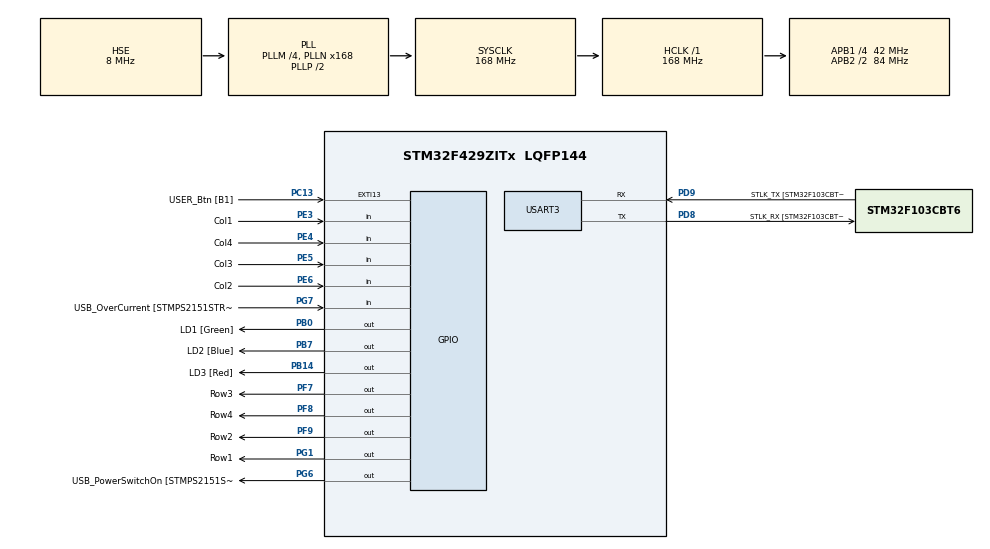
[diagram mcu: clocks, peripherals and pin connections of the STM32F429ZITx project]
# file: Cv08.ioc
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Mcu.Family=STM32F4
Mcu.Name=STM32F429ZITx
Mcu.Package=LQFP144
NVIC.PriorityGroup=NVIC_PRIORITYGROUP_4
NVIC.TIM3_IRQn=true\:0\:0\:false\:false\:true\:true\:true\:true
PA1.GPIO_Label=RMII_REF_CLK [LAN8742A-CZ-TR_REFCLK0]
PA1.Signal=ETH_REF_CLK
PA10.GPIO_Label=USB_ID
PA10.Signal=USB_OTG_FS_ID
PA11.GPIO_Label=USB_DM
PA11.Signal=USB_OTG_FS_DM
PA12.GPIO_Label=USB_DP
PA12.Signal=USB_OTG_FS_DP
PA13.GPIO_Label=TMS
PA13.Mode=Serial_Wire
PA13.Signal=SYS_JTMS-SWDIO
PA14.GPIO_Label=TCK
PA14.Mode=Serial_Wire
PA14.Signal=SYS_JTCK-SWCLK
PA2.GPIO_Label=RMII_MDIO [LAN8742A-CZ-TR_MDIO]
PA2.Signal=ETH_MDIO
PA7.GPIO_Label=RMII_CRS_DV [LAN8742A-CZ-TR_CRS_DV]
PA7.Signal=ETH_CRS_DV
PA8.GPIO_Label=USB_SOF [TP1]
PA8.Signal=USB_OTG_FS_SOF
PA9.GPIO_Label=USB_VBUS
PA9.Signal=USB_OTG_FS_VBUS
PB0.GPIO_Label=LD1 [Green]
PB0.Signal=GPIO_Output
PB13.GPIO_Label=RMII_TXD1 [LAN8742A-CZ-TR_TXD1]
PB13.Signal=ETH_TXD1
PB14.GPIO_Label=LD3 [Red]
PB14.Signal=GPIO_Output
PB7.GPIO_Label=LD2 [Blue]
PB7.Signal=GPIO_Output
PC1.GPIO_Label=RMII_MDC [LAN8742A-CZ-TR_MDC]
PC1.Signal=ETH_MDC
PC13.GPIO_Label=USER_Btn [B1]
PC13.Signal=GPXTI13
PC14/OSC32_IN.Mode=LSE-External-Oscillator
PC14/OSC32_IN.Signal=RCC_OSC32_IN
PC15/OSC32_OUT.Mode=LSE-External-Oscillator
PC15/OSC32_OUT.Signal=RCC_OSC32_OUT
PC4.GPIO_Label=RMII_RXD0 [LAN8742A-CZ-TR_RXD0]
PC4.Signal=ETH_RXD0
PC5.GPIO_Label=RMII_RXD1 [LAN8742A-CZ-TR_RXD1]
PC5.Signal=ETH_RXD1
PD8.GPIO_Label=STLK_RX [STM32F103CBT6_PA3]
PD8.Mode=Asynchronous
PD8.Signal=USART3_TX
PD9.GPIO_Label=STLK_TX [STM32F103CBT6_PA2]
PD9.Mode=Asynchronous
PD9.Signal=USART3_RX
PE3.GPIO_Label=Col1
PE3.GPIO_PuPd=GPIO_PULLUP
PE3.Signal=GPIO_Input
PE4.GPIO_Label=Col4
PE4.GPIO_PuPd=GPIO_PULLUP
PE4.Signal=GPIO_Input
PE5.GPIO_Label=Col3
PE5.GPIO_PuPd=GPIO_PULLUP
PE5.Signal=GPIO_Input
PE6.GPIO_Label=Col2
PE6.GPIO_PuPd=GPIO_PULLUP
PE6.Signal=GPIO_Input
PF7.GPIO_Label=Row3
PF7.GPIO_ModeDefaultOutputPP=GPIO_MODE_OUTPUT_OD
PF7.GPIO_PuPd=GPIO_NOPULL
PF7.Signal=GPIO_Output
PF8.GPIO_Label=Row4
PF8.GPIO_ModeDefaultOutputPP=GPIO_MODE_OUTPUT_OD
PF8.GPIO_PuPd=GPIO_NOPULL
PF8.Signal=GPIO_Output
PF9.GPIO_Label=Row2
PF9.GPIO_ModeDefaultOutputPP=GPIO_MODE_OUTPUT_OD
PF9.GPIO_PuPd=GPIO_NOPULL
PF9.Signal=GPIO_Output
PG1.GPIO_Label=Row1
PG1.GPIO_ModeDefaultOutputPP=GPIO_MODE_OUTPUT_OD
PG1.GPIO_PuPd=GPIO_NOPULL
PG1.Signal=GPIO_Output
PG11.GPIO_Label=RMII_TX_EN [LAN8742A-CZ-TR_TXEN]
PG11.Signal=ETH_TX_EN
PG13.GPIO_Label=RMII_TXD0 [LAN8742A-CZ-TR_TXD0]
PG13.Signal=ETH_TXD0
PG6.GPIO_Label=USB_PowerSwitchOn [STMPS2151STR_EN]
PG6.Signal=GPIO_Output
PG7.GPIO_Label=USB_OverCurrent [STMPS2151STR_FAULT]
PG7.Signal=GPIO_Input
PH0/OSC_IN.GPIO_Label=MCO [STM32F103CBT6_PA8]
PH0/OSC_IN.Mode=HSE-External-Clock-Source
PH0/OSC_IN.Signal=RCC_OSC_IN
PH1/OSC_OUT.Mode=HSE-External-Clock-Source
PH1/OSC_OUT.Signal=RCC_OSC_OUT
ProjectManager.HeapSize=0x200
ProjectManager.StackSize=0x400
ProjectManager.TargetToolchain=STM32CubeIDE
RCC.48MHZClocksFreq_Value=48000000
RCC.AHBFreq_Value=168000000
RCC.APB1CLKDivider=RCC_HCLK_DIV4
RCC.APB1Freq_Value=42000000
RCC.APB1TimFreq_Value=84000000
RCC.APB2CLKDivider=RCC_HCLK_DIV2
RCC.APB2Freq_Value=84000000
RCC.APB2TimCLKDivider=2
RCC.APB2TimFreq_Value=168000000
RCC.CortexFreq_Value=168000000
RCC.HCLKFreq_Value=168000000
RCC.HSE_VALUE=8000000
RCC.HSI_VALUE=16000000
RCC.PLLM=4
RCC.PLLMUL=RCC_PLL_MUL9
RCC.PLLN=168
RCC.PLLQ=7
RCC.PLLSourceVirtual=RCC_PLLSOURCE_HSE
RCC.PRESCALERUSB=RCC_USBCLKSOURCE_PLL_DIV1_5
RCC.SYSCLKFreq_VALUE=168000000
RCC.SYSCLKSource=RCC_SYSCLKSOURCE_PLLCLK
RCC.SYSCLKSourceVirtual=RCC_SYSCLKSOURCE_PLLCLK
RCC.USBFreq_Value=48000000
RCC.VCOOutputFreq_Value=336000000
TIM3.AutoReloadPreload=TIM_AUTORELOAD_PRELOAD_ENABLE
TIM3.Period=99
TIM3.Prescaler=8399
USART3.VirtualMode=VM_ASYNC
VP_TIM3_VS_ClockSourceINT.Mode=Internal
board=NUCLEO-F429ZI

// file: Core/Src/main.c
/* USER CODE BEGIN Header */
/**
 ******************************************************************************
 * @file           : main.c
 * @brief          : Main program body
 ******************************************************************************
 * @attention
 *
 * Copyright (c) 2024 STMicroelectronics.
 * All rights reserved.
 *
 * This software is licensed under terms that can be found in the LICENSE file
 * in the root directory of this software component.
 * If no LICENSE file comes with this software, it is provided AS-IS.
 *
 ******************************************************************************
 */
/* USER CODE END Header */
#include "main.h"

/* USER CODE BEGIN Includes */
#include "stdio.h"
/* USER CODE END Includes */

TIM_HandleTypeDef htim3;

UART_HandleTypeDef huart3;

/* USER CODE BEGIN PV */
static volatile char key;
static const char Heslo [] = { '7', '9', '3', '2', '#' };
static uint8_t Pozice = 0;

uint32_t Curr_time;

/* USER CODE END PV */

void SystemClock_Config(void);
static void MX_GPIO_Init(void);
static void MX_USART3_UART_Init(void);
static void MX_TIM3_Init(void);

/* USER CODE BEGIN 0 */
int __io_putchar(int ch)
{
	ITM_SendChar(ch);
	return 0;
}
/* USER CODE END 0 */

int main(void)
{

	/* MCU Configuration--------------------------------------------------------*/

	/* Reset of all peripherals, Initializes the Flash interface and the Systick. */
	HAL_Init();

	/* Configure the system clock */
	SystemClock_Config();

	/* Initialize all configured peripherals */
	MX_GPIO_Init();
	MX_USART3_UART_Init();
	MX_TIM3_Init();
	/* USER CODE BEGIN 2 */
	HAL_TIM_Base_Start_IT(&htim3);
	/* USER CODE END 2 */

	/* Infinite loop */
	/* USER CODE BEGIN WHILE */
	while (1)
	{
		/*HAL_GPIO_TogglePin(LD1_GPIO_Port, LD1_Pin);
	  HAL_Delay(250);

	  static uint32_t i;
	  printf("Test %u\n",i++);*/
		if (key != 0)
		{
			printf("pressed '%c'\n", key);

			if (key == Heslo[Pozice])
			{
				Pozice++;

				Curr_time = HAL_GetTick();
				if(Pozice == sizeof(Heslo))
				{
					printf("Zadane heslo je spravne\n");
					HAL_GPIO_WritePin(LD1_GPIO_Port, LD1_Pin, 1);
					Pozice = 0;
				}

			}

			else
			{
				printf("Zadane heslo je spatne, tudiz te vracim na zacatek :)\n");
				Pozice = 0;
				HAL_GPIO_WritePin(LD1_GPIO_Port, LD1_Pin, 0);
			}

			HAL_Delay(500);
			key = 0;
		}

		if(HAL_GetTick() - Curr_time >= 4000  && Pozice != 0)
		{
			printf("Trvalo ti moc dlouho zadat dalsi charakter, tudiz te vracim na zacatek :)\n");
			Pozice = 0;
			HAL_GPIO_WritePin(LD1_GPIO_Port, LD1_Pin, 0);
		}

		/* USER CODE END WHILE */

	}
}

void SystemClock_Config(void)
{
	RCC_OscInitTypeDef RCC_OscInitStruct = {0};
	RCC_ClkInitTypeDef RCC_ClkInitStruct = {0};

	/** Configure the main internal regulator output voltage
	 */
	__HAL_RCC_PWR_CLK_ENABLE();
	__HAL_PWR_VOLTAGESCALING_CONFIG(PWR_REGULATOR_VOLTAGE_SCALE1);

	/** Initializes the RCC Oscillators according to the specified parameters
	 * in the RCC_OscInitTypeDef structure.
	 */
	RCC_OscInitStruct.OscillatorType = RCC_OSCILLATORTYPE_HSE;
	RCC_OscInitStruct.HSEState = RCC_HSE_BYPASS;
	RCC_OscInitStruct.PLL.PLLState = RCC_PLL_ON;
	RCC_OscInitStruct.PLL.PLLSource = RCC_PLLSOURCE_HSE;
	RCC_OscInitStruct.PLL.PLLM = 4;
	RCC_OscInitStruct.PLL.PLLN = 168;
	RCC_OscInitStruct.PLL.PLLP = RCC_PLLP_DIV2;
	RCC_OscInitStruct.PLL.PLLQ = 7;
	if (HAL_RCC_OscConfig(&RCC_OscInitStruct) != HAL_OK)
	{
		Error_Handler();
	}

	/** Initializes the CPU, AHB and APB buses clocks
	 */
	RCC_ClkInitStruct.ClockType = RCC_CLOCKTYPE_HCLK|RCC_CLOCKTYPE_SYSCLK
			|RCC_CLOCKTYPE_PCLK1|RCC_CLOCKTYPE_PCLK2;
	RCC_ClkInitStruct.SYSCLKSource = RCC_SYSCLKSOURCE_PLLCLK;
	RCC_ClkInitStruct.AHBCLKDivider = RCC_SYSCLK_DIV1;
	RCC_ClkInitStruct.APB1CLKDivider = RCC_HCLK_DIV4;
	RCC_ClkInitStruct.APB2CLKDivider = RCC_HCLK_DIV2;

	if (HAL_RCC_ClockConfig(&RCC_ClkInitStruct, FLASH_LATENCY_5) != HAL_OK)
	{
		Error_Handler();
	}
}

static void MX_TIM3_Init(void)
{

	TIM_ClockConfigTypeDef sClockSourceConfig = {0};
	TIM_MasterConfigTypeDef sMasterConfig = {0};

	htim3.Instance = TIM3;
	htim3.Init.Prescaler = 8399;
	htim3.Init.CounterMode = TIM_COUNTERMODE_UP;
	htim3.Init.Period = 99;
	htim3.Init.ClockDivision = TIM_CLOCKDIVISION_DIV1;
	htim3.Init.AutoReloadPreload = TIM_AUTORELOAD_PRELOAD_ENABLE;
	if (HAL_TIM_Base_Init(&htim3) != HAL_OK)
	{
		Error_Handler();
	}
	sClockSourceConfig.ClockSource = TIM_CLOCKSOURCE_INTERNAL;
	if (HAL_TIM_ConfigClockSource(&htim3, &sClockSourceConfig) != HAL_OK)
	{
		Error_Handler();
	}
	sMasterConfig.MasterOutputTrigger = TIM_TRGO_RESET;
	sMasterConfig.MasterSlaveMode = TIM_MASTERSLAVEMODE_DISABLE;
	if (HAL_TIMEx_MasterConfigSynchronization(&htim3, &sMasterConfig) != HAL_OK)
	{
		Error_Handler();
	}

}

static void MX_USART3_UART_Init(void)
{

	huart3.Instance = USART3;
	huart3.Init.BaudRate = 115200;
	huart3.Init.WordLength = UART_WORDLENGTH_8B;
	huart3.Init.StopBits = UART_STOPBITS_1;
	huart3.Init.Parity = UART_PARITY_NONE;
	huart3.Init.Mode = UART_MODE_TX_RX;
	huart3.Init.HwFlowCtl = UART_HWCONTROL_NONE;
	huart3.Init.OverSampling = UART_OVERSAMPLING_16;
	if (HAL_UART_Init(&huart3) != HAL_OK)
	{
		Error_Handler();
	}

}

static void MX_GPIO_Init(void)
{
	GPIO_InitTypeDef GPIO_InitStruct = {0};

	/* GPIO Ports Clock Enable */
	__HAL_RCC_GPIOE_CLK_ENABLE();
	__HAL_RCC_GPIOC_CLK_ENABLE();
	__HAL_RCC_GPIOF_CLK_ENABLE();
	__HAL_RCC_GPIOH_CLK_ENABLE();
	__HAL_RCC_GPIOA_CLK_ENABLE();
	__HAL_RCC_GPIOB_CLK_ENABLE();
	__HAL_RCC_GPIOG_CLK_ENABLE();
	__HAL_RCC_GPIOD_CLK_ENABLE();

	/*Configure GPIO pin Output Level */
	HAL_GPIO_WritePin(GPIOF, Row3_Pin|Row4_Pin|Row2_Pin, GPIO_PIN_RESET);

	/*Configure GPIO pin Output Level */
	HAL_GPIO_WritePin(GPIOB, LD1_Pin|LD3_Pin|LD2_Pin, GPIO_PIN_RESET);

	/*Configure GPIO pin Output Level */
	HAL_GPIO_WritePin(GPIOG, Row1_Pin|USB_PowerSwitchOn_Pin, GPIO_PIN_RESET);

	/*Configure GPIO pins : Col1_Pin Col4_Pin Col3_Pin Col2_Pin */
	GPIO_InitStruct.Pin = Col1_Pin|Col4_Pin|Col3_Pin|Col2_Pin;
	GPIO_InitStruct.Mode = GPIO_MODE_INPUT;
	GPIO_InitStruct.Pull = GPIO_PULLUP;
	HAL_GPIO_Init(GPIOE, &GPIO_InitStruct);

	/*Configure GPIO pin : USER_Btn_Pin */
	GPIO_InitStruct.Pin = USER_Btn_Pin;
	GPIO_InitStruct.Mode = GPIO_MODE_IT_RISING;
	GPIO_InitStruct.Pull = GPIO_NOPULL;
	HAL_GPIO_Init(USER_Btn_GPIO_Port, &GPIO_InitStruct);

	/*Configure GPIO pins : Row3_Pin Row4_Pin Row2_Pin */
	GPIO_InitStruct.Pin = Row3_Pin|Row4_Pin|Row2_Pin;
	GPIO_InitStruct.Mode = GPIO_MODE_OUTPUT_OD;
	GPIO_InitStruct.Pull = GPIO_NOPULL;
	GPIO_InitStruct.Speed = GPIO_SPEED_FREQ_LOW;
	HAL_GPIO_Init(GPIOF, &GPIO_InitStruct);

	/*Configure GPIO pins : RMII_MDC_Pin RMII_RXD0_Pin RMII_RXD1_Pin */
	GPIO_InitStruct.Pin = RMII_MDC_Pin|RMII_RXD0_Pin|RMII_RXD1_Pin;
	GPIO_InitStruct.Mode = GPIO_MODE_AF_PP;
	GPIO_InitStruct.Pull = GPIO_NOPULL;
	GPIO_InitStruct.Speed = GPIO_SPEED_FREQ_VERY_HIGH;
	GPIO_InitStruct.Alternate = GPIO_AF11_ETH;
	HAL_GPIO_Init(GPIOC, &GPIO_InitStruct);

	/*Configure GPIO pins : RMII_REF_CLK_Pin RMII_MDIO_Pin RMII_CRS_DV_Pin */
	GPIO_InitStruct.Pin = RMII_REF_CLK_Pin|RMII_MDIO_Pin|RMII_CRS_DV_Pin;
	GPIO_InitStruct.Mode = GPIO_MODE_AF_PP;
	GPIO_InitStruct.Pull = GPIO_NOPULL;
	GPIO_InitStruct.Speed = GPIO_SPEED_FREQ_VERY_HIGH;
	GPIO_InitStruct.Alternate = GPIO_AF11_ETH;
	HAL_GPIO_Init(GPIOA, &GPIO_InitStruct);

	/*Configure GPIO pins : LD1_Pin LD3_Pin LD2_Pin */
	GPIO_InitStruct.Pin = LD1_Pin|LD3_Pin|LD2_Pin;
	GPIO_InitStruct.Mode = GPIO_MODE_OUTPUT_PP;
	GPIO_InitStruct.Pull = GPIO_NOPULL;
	GPIO_InitStruct.Speed = GPIO_SPEED_FREQ_LOW;
	HAL_GPIO_Init(GPIOB, &GPIO_InitStruct);

	/*Configure GPIO pin : Row1_Pin */
	GPIO_InitStruct.Pin = Row1_Pin;
	GPIO_InitStruct.Mode = GPIO_MODE_OUTPUT_OD;
	GPIO_InitStruct.Pull = GPIO_NOPULL;
	GPIO_InitStruct.Speed = GPIO_SPEED_FREQ_LOW;
	HAL_GPIO_Init(Row1_GPIO_Port, &GPIO_InitStruct);

	/*Configure GPIO pin : RMII_TXD1_Pin */
	GPIO_InitStruct.Pin = RMII_TXD1_Pin;
	GPIO_InitStruct.Mode = GPIO_MODE_AF_PP;
	GPIO_InitStruct.Pull = GPIO_NOPULL;
	GPIO_InitStruct.Speed = GPIO_SPEED_FREQ_VERY_HIGH;
	GPIO_InitStruct.Alternate = GPIO_AF11_ETH;
	HAL_GPIO_Init(RMII_TXD1_GPIO_Port, &GPIO_InitStruct);

	/*Configure GPIO pin : USB_PowerSwitchOn_Pin */
	GPIO_InitStruct.Pin = USB_PowerSwitchOn_Pin;
	GPIO_InitStruct.Mode = GPIO_MODE_OUTPUT_PP;
	GPIO_InitStruct.Pull = GPIO_NOPULL;
	GPIO_InitStruct.Speed = GPIO_SPEED_FREQ_LOW;
	HAL_GPIO_Init(USB_PowerSwitchOn_GPIO_Port, &GPIO_InitStruct);

	/*Configure GPIO pin : USB_OverCurrent_Pin */
	GPIO_InitStruct.Pin = USB_OverCurrent_Pin;
	GPIO_InitStruct.Mode = GPIO_MODE_INPUT;
	GPIO_InitStruct.Pull = GPIO_NOPULL;
	HAL_GPIO_Init(USB_OverCurrent_GPIO_Port, &GPIO_InitStruct);

	/*Configure GPIO pins : USB_SOF_Pin USB_ID_Pin USB_DM_Pin USB_DP_Pin */
	GPIO_InitStruct.Pin = USB_SOF_Pin|USB_ID_Pin|USB_DM_Pin|USB_DP_Pin;
	GPIO_InitStruct.Mode = GPIO_MODE_AF_PP;
	GPIO_InitStruct.Pull = GPIO_NOPULL;
	GPIO_InitStruct.Speed = GPIO_SPEED_FREQ_VERY_HIGH;
	GPIO_InitStruct.Alternate = GPIO_AF10_OTG_FS;
	HAL_GPIO_Init(GPIOA, &GPIO_InitStruct);

	/*Configure GPIO pin : USB_VBUS_Pin */
	GPIO_InitStruct.Pin = USB_VBUS_Pin;
	GPIO_InitStruct.Mode = GPIO_MODE_INPUT;
	GPIO_InitStruct.Pull = GPIO_NOPULL;
	HAL_GPIO_Init(USB_VBUS_GPIO_Port, &GPIO_InitStruct);

	/*Configure GPIO pins : RMII_TX_EN_Pin RMII_TXD0_Pin */
	GPIO_InitStruct.Pin = RMII_TX_EN_Pin|RMII_TXD0_Pin;
	GPIO_InitStruct.Mode = GPIO_MODE_AF_PP;
	GPIO_InitStruct.Pull = GPIO_NOPULL;
	GPIO_InitStruct.Speed = GPIO_SPEED_FREQ_VERY_HIGH;
	GPIO_InitStruct.Alternate = GPIO_AF11_ETH;
	HAL_GPIO_Init(GPIOG, &GPIO_InitStruct);

}

/* USER CODE BEGIN 4 */
void HAL_TIM_PeriodElapsedCallback(TIM_HandleTypeDef *htim)
{
	static uint8_t row = 0;
	static const char keyboard[4][4] = {
			{ '1', '2', '3', 'A' },
			{ '4', '5', '6', 'B' },
			{ '7', '8', '9', 'C' },
			{ '*', '0', '#', 'D' },
	};

	if (key == 0)
	{
		if (HAL_GPIO_ReadPin(Col1_GPIO_Port, Col1_Pin) == GPIO_PIN_RESET)
		{
			key = keyboard[row][0];
		}
		if (HAL_GPIO_ReadPin(Col2_GPIO_Port, Col2_Pin) == GPIO_PIN_RESET)
		{
			key = keyboard[row][1];
		}
		if (HAL_GPIO_ReadPin(Col3_GPIO_Port, Col3_Pin) == GPIO_PIN_RESET)
		{
			key = keyboard[row][2];
		}
		if (HAL_GPIO_ReadPin(Col4_GPIO_Port, Col4_Pin) == GPIO_PIN_RESET)
		{
			key = keyboard[row][3];
		}
	}

	switch (row)
	{
	case 0:
		row = 1;
		HAL_GPIO_WritePin(Row1_GPIO_Port, Row1_Pin, GPIO_PIN_SET);
		HAL_GPIO_WritePin(Row2_GPIO_Port, Row2_Pin, GPIO_PIN_RESET);
		HAL_GPIO_WritePin(Row3_GPIO_Port, Row3_Pin, GPIO_PIN_SET);
		HAL_GPIO_WritePin(Row4_GPIO_Port, Row4_Pin, GPIO_PIN_SET);
		break;
	case 1:
		row = 2;
		HAL_GPIO_WritePin(Row1_GPIO_Port, Row1_Pin, GPIO_PIN_SET);
		HAL_GPIO_WritePin(Row2_GPIO_Port, Row2_Pin, GPIO_PIN_SET);
		HAL_GPIO_WritePin(Row3_GPIO_Port, Row3_Pin, GPIO_PIN_RESET);
		HAL_GPIO_WritePin(Row4_GPIO_Port, Row4_Pin, GPIO_PIN_SET);
		break;
	case 2:
		row = 3;
		HAL_GPIO_WritePin(Row1_GPIO_Port, Row1_Pin, GPIO_PIN_SET);
		HAL_GPIO_WritePin(Row2_GPIO_Port, Row2_Pin, GPIO_PIN_SET);
		HAL_GPIO_WritePin(Row3_GPIO_Port, Row3_Pin, GPIO_PIN_SET);
		HAL_GPIO_WritePin(Row4_GPIO_Port, Row4_Pin, GPIO_PIN_RESET);
		break;
	case 3:
		row = 0;
		HAL_GPIO_WritePin(Row1_GPIO_Port, Row1_Pin, GPIO_PIN_RESET);
		HAL_GPIO_WritePin(Row2_GPIO_Port, Row2_Pin, GPIO_PIN_SET);
		HAL_GPIO_WritePin(Row3_GPIO_Port, Row3_Pin, GPIO_PIN_SET);
		HAL_GPIO_WritePin(Row4_GPIO_Port, Row4_Pin, GPIO_PIN_SET);
		break;
	}
}

/* USER CODE END 4 */

void Error_Handler(void)
{
	__disable_irq();
	while (1)
	{
	}
}
